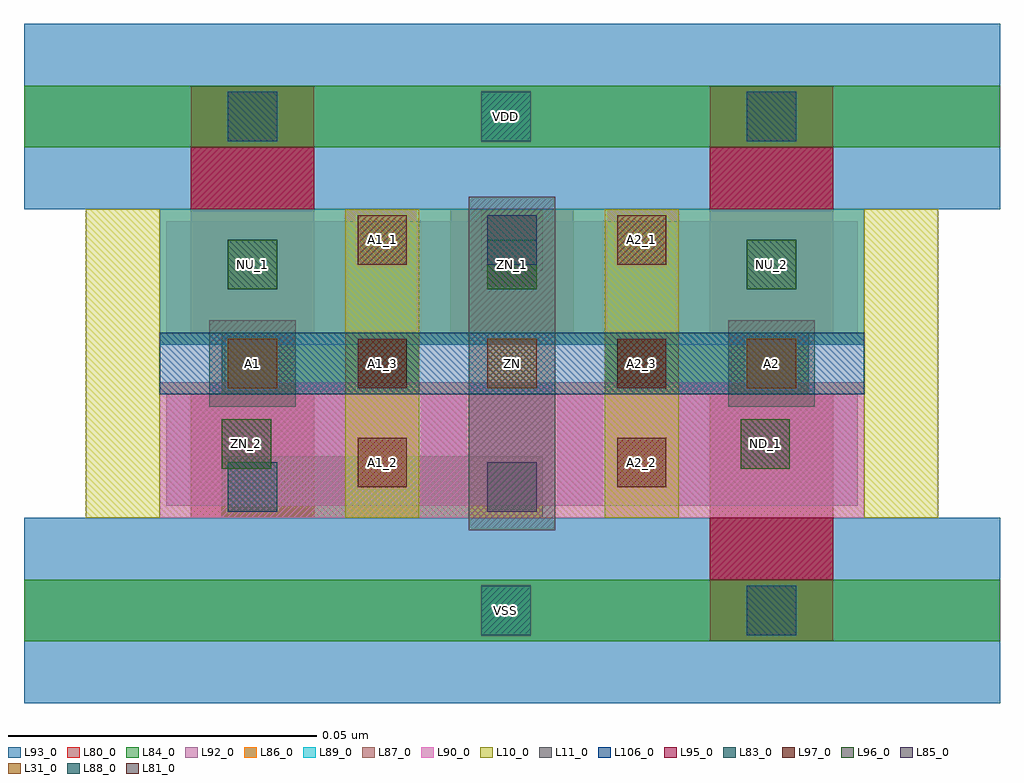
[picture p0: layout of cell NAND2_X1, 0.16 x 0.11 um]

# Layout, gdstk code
import gdstk
lib = gdstk.Library(unit=1e-6, precision=1e-09)
def R(c, l, rs):  # rectangles x0, y0, x1, y1
    for r in rs: c.add(gdstk.rectangle(r[:2], r[2:], *l))
def A(c, l, x, y, w, h, nx, ny, dx, dy):  # array of equal rectangles
    R(c, l, [(x+i*dx, y+j*dy, x+i*dx+w, y+j*dy+h) for i in range(nx) for j in range(ny)])
L10_0 = (10, 0)
L11_0 = (11, 0)
L31_0 = (31, 0)
L80_0 = (80, 0)
L81_0 = (81, 0)
L83_0 = (83, 0)
L84_0 = (84, 0)
L85_0 = (85, 0)
L86_0 = (86, 0)
L87_0 = (87, 0)
L88_0 = (88, 0)
L89_0 = (89, 0)
L90_0 = (90, 0)
L92_0 = (92, 0)
L93_0 = (93, 0)
L95_0 = (95, 0)
L96_0 = (96, 0)
L97_0 = (97, 0)
L106_0 = (106, 0)

nand2_x1 = lib.new_cell('NAND2_X1')
A(nand2_x1, L10_0, -0.027, 0.015, 0.012, 0.05, 4, 1, 0.042, 0)
R(nand2_x1, L11_0, [(0.035,0.013,0.049,0.047), (-0.007,0.033,0.007,0.047), (0.035,0.033,0.049,0.067), (0.077,0.033,0.091,0.047)])
A(nand2_x1, L31_0, -0.004, 0.036, 0.008, 0.008, 3, 1, 0.042, 0)
R(nand2_x1, L80_0, [(0.074,-0.005,0.094,0.016), (-0.01,0.015,0.01,0.035), (0.074,0.015,0.094,0.035), (-0.01,0.045,0.01,0.065), (-0.01,0.045,0.01,0.065), (0.032,0.045,0.052,0.065), (0.032,0.045,0.052,0.065), (0.074,0.045,0.094,0.065), (0.074,0.045,0.094,0.065), (-0.01,0.056,0.01,0.085), (0.074,0.056,0.094,0.085)])
R(nand2_x1, L81_0, [(0.017,0.036,0.025,0.044), (0.059,0.036,0.067,0.044)])
R(nand2_x1, L83_0, [(0.08,-0.004,0.088,0.004), (-0.004,0.016,0.004,0.024), (0.038,0.056,0.046,0.064), (0.038,0.056,0.046,0.064), (-0.004,0.076,0.004,0.084), (0.08,0.076,0.088,0.084)])
R(nand2_x1, L84_0, [(-0.037,-0.005,0.121,0.005), (-0.005,0.015,0.026,0.025), (0.016,0.015,0.047,0.025), (-0.005,0.035,0.027,0.045), (0.057,0.035,0.09,0.045), (0.037,0.055,0.047,0.065), (-0.037,0.075,0.121,0.085)])
R(nand2_x1, L85_0, [(0.038,0.016,0.046,0.024), (-0.004,0.036,0.004,0.044), (0.08,0.036,0.088,0.044), (0.038,0.056,0.046,0.064)])
R(nand2_x1, L86_0, [(-0.015,0.043,0.099,0.065)])
R(nand2_x1, L87_0, [(-0.015,0.015,0.099,0.037)])
R(nand2_x1, L88_0, [(0.037,-0.004,0.045,0.004), (0.037,0.076,0.045,0.084)])
R(nand2_x1, L89_0, [(-0.015,0.043,0.099,0.065)])
R(nand2_x1, L90_0, [(-0.015,0.015,0.099,0.037)])
R(nand2_x1, L92_0, [(-0.014,0.017,0.098,0.035), (-0.014,0.045,0.098,0.063)])
R(nand2_x1, L93_0, [(-0.037,-0.015,0.121,0.015), (-0.037,0.065,0.121,0.095)])
R(nand2_x1, L95_0, [(0.074,0.005,0.094,0.015), (-0.01,0.065,0.01,0.075), (0.074,0.065,0.094,0.075)])
A(nand2_x1, L96_0, -0.004, 0.052, 0.008, 0.008, 3, 1, 0.042, 0)
R(nand2_x1, L96_0, [(-0.005,0.023,0.003,0.031), (0.079,0.023,0.087,0.031)])
R(nand2_x1, L97_0, [(0.017,0.02,0.025,0.028), (0.059,0.02,0.067,0.028), (0.017,0.036,0.025,0.044), (0.059,0.036,0.067,0.044), (0.017,0.056,0.025,0.064), (0.059,0.056,0.067,0.064)])
R(nand2_x1, L106_0, [(-0.015,0.035,0.099,0.045)])
nand2_x1.add(gdstk.Label('VSS', (0.041,0), layer=88, texttype=0))
nand2_x1.add(gdstk.Label('VDD', (0.041,0.08), layer=88, texttype=0))
nand2_x1.add(gdstk.Label('ND_1', (0.083,0.027), layer=96, texttype=0))
nand2_x1.add(gdstk.Label('ZN_2', (-0.001,0.027), layer=96, texttype=0))
nand2_x1.add(gdstk.Label('NU_1', (0,0.056), layer=96, texttype=0))
nand2_x1.add(gdstk.Label('ZN_1', (0.042,0.056), layer=96, texttype=0))
nand2_x1.add(gdstk.Label('NU_2', (0.084,0.056), layer=96, texttype=0))
nand2_x1.add(gdstk.Label('A2_3', (0.063,0.04), layer=97, texttype=0))
nand2_x1.add(gdstk.Label('A2_2', (0.063,0.024), layer=97, texttype=0))
nand2_x1.add(gdstk.Label('A1_1', (0.021,0.06), layer=97, texttype=0))
nand2_x1.add(gdstk.Label('A1_2', (0.021,0.024), layer=97, texttype=0))
nand2_x1.add(gdstk.Label('A1_3', (0.021,0.04), layer=97, texttype=0))
nand2_x1.add(gdstk.Label('A2_1', (0.063,0.06), layer=97, texttype=0))
nand2_x1.add(gdstk.Label('A1', (0,0.04), layer=31, texttype=0))
nand2_x1.add(gdstk.Label('ZN', (0.042,0.04), layer=31, texttype=0))
nand2_x1.add(gdstk.Label('A2', (0.084,0.04), layer=31, texttype=0))

lib.write_gds('NAND2_X1.gds')
